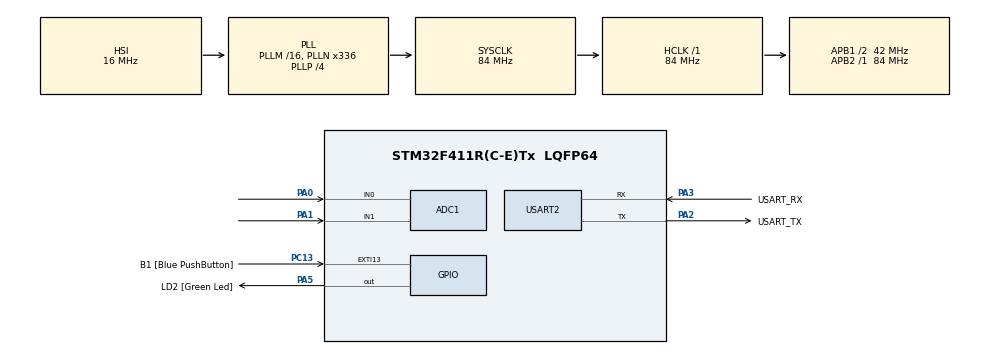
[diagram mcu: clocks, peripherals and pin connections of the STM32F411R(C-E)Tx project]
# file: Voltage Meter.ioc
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ADC1.Channel-0\#ChannelRegularConversion=ADC_CHANNEL_0
ADC1.Channel-1\#ChannelRegularConversion=ADC_CHANNEL_1
ADC1.Channel-2\#ChannelRegularConversion=ADC_CHANNEL_TEMPSENSOR
ADC1.Channel-3\#ChannelInjectedConversion=ADC_CHANNEL_0
ADC1.ContinuousConvMode=ENABLE
ADC1.DMAContinuousRequests=ENABLE
ADC1.InjNumberOfConversion=1
ADC1.InjectedOffset-3\#ChannelInjectedConversion=0
ADC1.InjectedRank-3\#ChannelInjectedConversion=1
ADC1.NbrOfConversion=3
ADC1.NbrOfConversionFlag=1
ADC1.Rank-0\#ChannelRegularConversion=1
ADC1.Rank-1\#ChannelRegularConversion=2
ADC1.Rank-2\#ChannelRegularConversion=3
ADC1.SamplingTime-0\#ChannelRegularConversion=ADC_SAMPLETIME_56CYCLES
ADC1.SamplingTime-1\#ChannelRegularConversion=ADC_SAMPLETIME_56CYCLES
ADC1.SamplingTime-2\#ChannelRegularConversion=ADC_SAMPLETIME_56CYCLES
ADC1.SamplingTime-3\#ChannelInjectedConversion=ADC_SAMPLETIME_3CYCLES
ADC1.ScanConvMode=ENABLE
ADC1.master=1
Dma.ADC1.0.Direction=DMA_PERIPH_TO_MEMORY
Dma.ADC1.0.FIFOMode=DMA_FIFOMODE_DISABLE
Dma.ADC1.0.Instance=DMA2_Stream0
Dma.ADC1.0.MemDataAlignment=DMA_MDATAALIGN_HALFWORD
Dma.ADC1.0.MemInc=DMA_MINC_ENABLE
Dma.ADC1.0.Mode=DMA_CIRCULAR
Dma.ADC1.0.PeriphDataAlignment=DMA_PDATAALIGN_HALFWORD
Dma.ADC1.0.PeriphInc=DMA_PINC_DISABLE
Dma.ADC1.0.Priority=DMA_PRIORITY_LOW
Dma.Request0=ADC1
Mcu.Family=STM32F4
Mcu.Name=STM32F411R(C-E)Tx
Mcu.Package=LQFP64
NVIC.ADC_IRQn=true\:0\:0\:false\:false\:true\:true\:true\:true
NVIC.DMA2_Stream0_IRQn=true\:0\:0\:false\:false\:true\:false\:true\:true
NVIC.EXTI15_10_IRQn=true\:0\:0\:false\:false\:true\:true\:true\:true
NVIC.PriorityGroup=NVIC_PRIORITYGROUP_0
PA0-WKUP.Signal=ADCx_IN0
PA1.Signal=ADCx_IN1
PA13.GPIO_Label=TMS
PA13.Mode=Serial_Wire
PA13.Signal=SYS_JTMS-SWDIO
PA14.GPIO_Label=TCK
PA14.Mode=Serial_Wire
PA14.Signal=SYS_JTCK-SWCLK
PA2.GPIO_Label=USART_TX
PA2.Mode=Asynchronous
PA2.Signal=USART2_TX
PA3.GPIO_Label=USART_RX
PA3.Mode=Asynchronous
PA3.Signal=USART2_RX
PA5.GPIO_Label=LD2 [Green Led]
PA5.Signal=GPIO_Output
PB3.GPIO_Label=SWO
PB3.Signal=SYS_JTDO-SWO
PC13-ANTI_TAMP.GPIO_Label=B1 [Blue PushButton]
PC13-ANTI_TAMP.GPIO_ModeDefaultEXTI=GPIO_MODE_IT_FALLING
PC13-ANTI_TAMP.Signal=GPXTI13
PC14-OSC32_IN.Mode=LSE-External-Oscillator
PC14-OSC32_IN.Signal=RCC_OSC32_IN
PC15-OSC32_OUT.Mode=LSE-External-Oscillator
PC15-OSC32_OUT.Signal=RCC_OSC32_OUT
PH0\ -\ OSC_IN.Mode=HSE-External-Clock-Source
PH0\ -\ OSC_IN.Signal=RCC_OSC_IN
PH1\ -\ OSC_OUT.Mode=HSE-External-Clock-Source
PH1\ -\ OSC_OUT.Signal=RCC_OSC_OUT
ProjectManager.HeapSize=0x200
ProjectManager.StackSize=0x400
ProjectManager.TargetToolchain=STM32CubeIDE
RCC.48MHZClocksFreq_Value=84000000
RCC.AHBFreq_Value=84000000
RCC.APB1CLKDivider=RCC_HCLK_DIV2
RCC.APB1Freq_Value=42000000
RCC.APB1TimFreq_Value=84000000
RCC.APB2Freq_Value=84000000
RCC.APB2TimFreq_Value=84000000
RCC.CortexFreq_Value=84000000
RCC.FLatency-AdvancedSettings=FLASH_LATENCY_2
RCC.HCLKFreq_Value=84000000
RCC.HSE_VALUE=8000000
RCC.HSI_VALUE=16000000
RCC.PLLN=336
RCC.PLLP=RCC_PLLP_DIV4
RCC.SYSCLKFreq_VALUE=84000000
RCC.SYSCLKSource=RCC_SYSCLKSOURCE_PLLCLK
RCC.VCOOutputFreq_Value=336000000
SH.ADCx_IN0.0=ADC1_IN0,IN0
SH.ADCx_IN1.0=ADC1_IN1,IN1
USART2.VirtualMode=VM_ASYNC
VP_ADC1_TempSens_Input.Mode=IN-TempSens
board=NUCLEO-F411RE

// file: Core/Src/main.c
/* USER CODE BEGIN Header */
/**
  ******************************************************************************
  * @file           : main.c
  * @brief          : Main program body
  ******************************************************************************
  * @attention
  *
  * Copyright (c) 2023 STMicroelectronics.
  * All rights reserved.
  *
  * This software is licensed under terms that can be found in the LICENSE file
  * in the root directory of this software component.
  * If no LICENSE file comes with this software, it is provided AS-IS.
  *
  ******************************************************************************
  */
/* USER CODE END Header */
#include "main.h"

/* USER CODE BEGIN Includes */

	//นภัสสร 64340500035

/* USER CODE END Includes */

ADC_HandleTypeDef hadc1;
DMA_HandleTypeDef hdma_adc1;

UART_HandleTypeDef huart2;

/* USER CODE BEGIN PV */

uint16_t adcRawData[30];
uint16_t Voltage = 0;
float Temp_V = 0;
float Temp_C = 0;
float Temp_K = 0;
uint16_t sum_Voltage = 0;
float sum_Temp = 0;
uint16_t avg_Voltage = 0;
float avg_Temp = 0;

/* USER CODE END PV */

void SystemClock_Config(void);
static void MX_GPIO_Init(void);
static void MX_DMA_Init(void);
static void MX_USART2_UART_Init(void);
static void MX_ADC1_Init(void);

int main(void)
{

  /* MCU Configuration--------------------------------------------------------*/

  /* Reset of all peripherals, Initializes the Flash interface and the Systick. */
  HAL_Init();

  /* Configure the system clock */
  SystemClock_Config();

  /* Initialize all configured peripherals */
  MX_GPIO_Init();
  MX_DMA_Init();
  MX_USART2_UART_Init();
  MX_ADC1_Init();

  /* Infinite loop */
  while (1)
  {

    /* USER CODE BEGIN 3 */
	static uint32_t timestamp = 0;
		if(HAL_GetTick()>=timestamp)
		{
			timestamp = HAL_GetTick() + 1000;
			avg_number();
		}
  }
  /* USER CODE END 3 */
}

void SystemClock_Config(void)
{
  RCC_OscInitTypeDef RCC_OscInitStruct = {0};
  RCC_ClkInitTypeDef RCC_ClkInitStruct = {0};

  /** Configure the main internal regulator output voltage
  */
  __HAL_RCC_PWR_CLK_ENABLE();
  __HAL_PWR_VOLTAGESCALING_CONFIG(PWR_REGULATOR_VOLTAGE_SCALE1);

  /** Initializes the RCC Oscillators according to the specified parameters
  * in the RCC_OscInitTypeDef structure.
  */
  RCC_OscInitStruct.OscillatorType = RCC_OSCILLATORTYPE_HSI;
  RCC_OscInitStruct.HSIState = RCC_HSI_ON;
  RCC_OscInitStruct.HSICalibrationValue = RCC_HSICALIBRATION_DEFAULT;
  RCC_OscInitStruct.PLL.PLLState = RCC_PLL_ON;
  RCC_OscInitStruct.PLL.PLLSource = RCC_PLLSOURCE_HSI;
  RCC_OscInitStruct.PLL.PLLM = 16;
  RCC_OscInitStruct.PLL.PLLN = 336;
  RCC_OscInitStruct.PLL.PLLP = RCC_PLLP_DIV4;
  RCC_OscInitStruct.PLL.PLLQ = 4;
  if (HAL_RCC_OscConfig(&RCC_OscInitStruct) != HAL_OK)
  {
    Error_Handler();
  }

  /** Initializes the CPU, AHB and APB buses clocks
  */
  RCC_ClkInitStruct.ClockType = RCC_CLOCKTYPE_HCLK|RCC_CLOCKTYPE_SYSCLK
                              |RCC_CLOCKTYPE_PCLK1|RCC_CLOCKTYPE_PCLK2;
  RCC_ClkInitStruct.SYSCLKSource = RCC_SYSCLKSOURCE_PLLCLK;
  RCC_ClkInitStruct.AHBCLKDivider = RCC_SYSCLK_DIV1;
  RCC_ClkInitStruct.APB1CLKDivider = RCC_HCLK_DIV2;
  RCC_ClkInitStruct.APB2CLKDivider = RCC_HCLK_DIV1;

  if (HAL_RCC_ClockConfig(&RCC_ClkInitStruct, FLASH_LATENCY_2) != HAL_OK)
  {
    Error_Handler();
  }
}

static void MX_ADC1_Init(void)
{

  ADC_ChannelConfTypeDef sConfig = {0};
  ADC_InjectionConfTypeDef sConfigInjected = {0};

  /** Configure the global features of the ADC (Clock, Resolution, Data Alignment and number of conversion)
  */
  hadc1.Instance = ADC1;
  hadc1.Init.ClockPrescaler = ADC_CLOCK_SYNC_PCLK_DIV4;
  hadc1.Init.Resolution = ADC_RESOLUTION_12B;
  hadc1.Init.ScanConvMode = ENABLE;
  hadc1.Init.ContinuousConvMode = ENABLE;
  hadc1.Init.DiscontinuousConvMode = DISABLE;
  hadc1.Init.ExternalTrigConvEdge = ADC_EXTERNALTRIGCONVEDGE_NONE;
  hadc1.Init.ExternalTrigConv = ADC_SOFTWARE_START;
  hadc1.Init.DataAlign = ADC_DATAALIGN_RIGHT;
  hadc1.Init.NbrOfConversion = 3;
  hadc1.Init.DMAContinuousRequests = ENABLE;
  hadc1.Init.EOCSelection = ADC_EOC_SINGLE_CONV;
  if (HAL_ADC_Init(&hadc1) != HAL_OK)
  {
    Error_Handler();
  }

  /** Configure for the selected ADC regular channel its corresponding rank in the sequencer and its sample time.
  */
  sConfig.Channel = ADC_CHANNEL_0;
  sConfig.Rank = 1;
  sConfig.SamplingTime = ADC_SAMPLETIME_56CYCLES;
  if (HAL_ADC_ConfigChannel(&hadc1, &sConfig) != HAL_OK)
  {
    Error_Handler();
  }

  /** Configure for the selected ADC regular channel its corresponding rank in the sequencer and its sample time.
  */
  sConfig.Channel = ADC_CHANNEL_1;
  sConfig.Rank = 2;
  if (HAL_ADC_ConfigChannel(&hadc1, &sConfig) != HAL_OK)
  {
    Error_Handler();
  }

  /** Configure for the selected ADC regular channel its corresponding rank in the sequencer and its sample time.
  */
  sConfig.Channel = ADC_CHANNEL_TEMPSENSOR;
  sConfig.Rank = 3;
  if (HAL_ADC_ConfigChannel(&hadc1, &sConfig) != HAL_OK)
  {
    Error_Handler();
  }

  /** Configures for the selected ADC injected channel its corresponding rank in the sequencer and its sample time
  */
  sConfigInjected.InjectedChannel = ADC_CHANNEL_0;
  sConfigInjected.InjectedRank = 1;
  sConfigInjected.InjectedNbrOfConversion = 1;
  sConfigInjected.InjectedSamplingTime = ADC_SAMPLETIME_3CYCLES;
  sConfigInjected.ExternalTrigInjecConvEdge = ADC_EXTERNALTRIGINJECCONVEDGE_NONE;
  sConfigInjected.ExternalTrigInjecConv = ADC_INJECTED_SOFTWARE_START;
  sConfigInjected.AutoInjectedConv = DISABLE;
  sConfigInjected.InjectedDiscontinuousConvMode = DISABLE;
  sConfigInjected.InjectedOffset = 0;
  if (HAL_ADCEx_InjectedConfigChannel(&hadc1, &sConfigInjected) != HAL_OK)
  {
    Error_Handler();
  }

}

static void MX_USART2_UART_Init(void)
{

  huart2.Instance = USART2;
  huart2.Init.BaudRate = 115200;
  huart2.Init.WordLength = UART_WORDLENGTH_8B;
  huart2.Init.StopBits = UART_STOPBITS_1;
  huart2.Init.Parity = UART_PARITY_NONE;
  huart2.Init.Mode = UART_MODE_TX_RX;
  huart2.Init.HwFlowCtl = UART_HWCONTROL_NONE;
  huart2.Init.OverSampling = UART_OVERSAMPLING_16;
  if (HAL_UART_Init(&huart2) != HAL_OK)
  {
    Error_Handler();
  }

}

static void MX_DMA_Init(void)
{

  /* DMA controller clock enable */
  __HAL_RCC_DMA2_CLK_ENABLE();

  /* DMA interrupt init */
  /* DMA2_Stream0_IRQn interrupt configuration */
  HAL_NVIC_SetPriority(DMA2_Stream0_IRQn, 0, 0);
  HAL_NVIC_EnableIRQ(DMA2_Stream0_IRQn);

}

static void MX_GPIO_Init(void)
{
  GPIO_InitTypeDef GPIO_InitStruct = {0};

  /* GPIO Ports Clock Enable */
  __HAL_RCC_GPIOC_CLK_ENABLE();
  __HAL_RCC_GPIOH_CLK_ENABLE();
  __HAL_RCC_GPIOA_CLK_ENABLE();
  __HAL_RCC_GPIOB_CLK_ENABLE();

  /*Configure GPIO pin Output Level */
  HAL_GPIO_WritePin(LD2_GPIO_Port, LD2_Pin, GPIO_PIN_RESET);

  /*Configure GPIO pin : B1_Pin */
  GPIO_InitStruct.Pin = B1_Pin;
  GPIO_InitStruct.Mode = GPIO_MODE_IT_FALLING;
  GPIO_InitStruct.Pull = GPIO_NOPULL;
  HAL_GPIO_Init(B1_GPIO_Port, &GPIO_InitStruct);

  /*Configure GPIO pin : LD2_Pin */
  GPIO_InitStruct.Pin = LD2_Pin;
  GPIO_InitStruct.Mode = GPIO_MODE_OUTPUT_PP;
  GPIO_InitStruct.Pull = GPIO_NOPULL;
  GPIO_InitStruct.Speed = GPIO_SPEED_FREQ_LOW;
  HAL_GPIO_Init(LD2_GPIO_Port, &GPIO_InitStruct);

  /* EXTI interrupt init*/
  HAL_NVIC_SetPriority(EXTI15_10_IRQn, 0, 0);
  HAL_NVIC_EnableIRQ(EXTI15_10_IRQn);

}

/* USER CODE BEGIN 4 */

void HAL_GPIO_EXTI_Callback(uint16_t GPIO_Pin)
{
	if(GPIO_Pin == GPIO_PIN_13)
	{
		HAL_ADC_Start_DMA(&hadc1, &adcRawData, 30);
	}
}

void avg_number()
{
	sum_Voltage = 0;
	sum_Temp = 0;
	for(int i=0;i<30;i++)
	{
		if(i%3 == 0)
		{
			Voltage = ((adcRawData[i]*3300)/4096)*2;
			sum_Voltage = sum_Voltage + Voltage;
		}
		else if (i%3 == 2)
		{
			Temp_V = ((adcRawData[i]*3300)/4096);
			Temp_C = (((Temp_V-760)/(2.5))/1000)+25;
			Temp_K = (Temp_C + 273.15);
			sum_Temp = (sum_Temp + Temp_K);
		}
	}
	avg_Voltage = sum_Voltage/10;
	avg_Temp = sum_Temp/10;
}

/* USER CODE END 4 */

void Error_Handler(void)
{
  __disable_irq();
  while (1)
  {
  }
}
